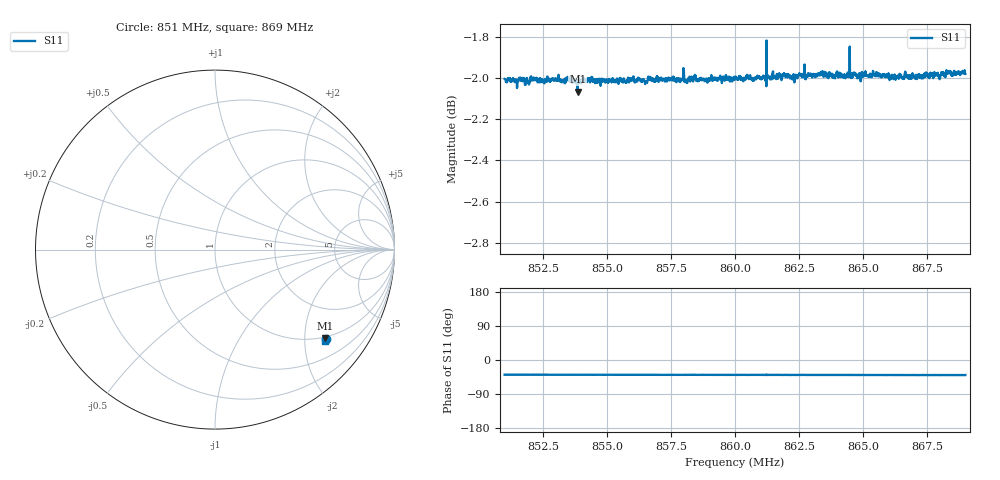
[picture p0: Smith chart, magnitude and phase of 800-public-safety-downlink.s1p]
! Calibrated averaged scanner-service zoom
# Hz S RI R 50
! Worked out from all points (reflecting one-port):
!   2001 points, 851 MHz to 869 MHz, reference 50 ohm
!   lowest |S11| = -2.1 dB at 853.85 MHz (marker M1), VSWR 8.45, Z = 48.2 - j126 ohm
!   phase of S11 starts at -39 deg and turns -1 deg over the sweep
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8.51e8  0.6196 -0.4966
8.52998e8  0.6183 -0.4985
8.5325e8  0.6173 -0.4982
8.53547e8  0.617 -0.4991
8.53853e8  0.6143 -0.494
8.54447e8  0.6163 -0.499
8.555e8  0.6165 -0.4994
8.5775e8  0.6147 -0.5011
8.58371e8  0.6154 -0.5009
8.58848e8  0.6144 -0.5015
8.6e8  0.6149 -0.502
8.60324e8  0.6142 -0.5015
8.60513e8  0.6145 -0.5036
8.60648e8  0.6152 -0.5025
8.61098e8  0.6145 -0.5045
8.61278e8  0.6162 -0.5035
8.6225e8  0.6144 -0.5038
8.6333e8  0.6157 -0.5057
8.64302e8  0.6134 -0.5053
8.645e8  0.6154 -0.5052
8.64842e8  0.6143 -0.5049
8.65112e8  0.6133 -0.5065
8.65607e8  0.6132 -0.5061
8.66264e8  0.6124 -0.5066
8.6675e8  0.6122 -0.5079
8.6801e8  0.6112 -0.5076
8.68352e8  0.6127 -0.5099
8.69e8  0.6131 -0.508
